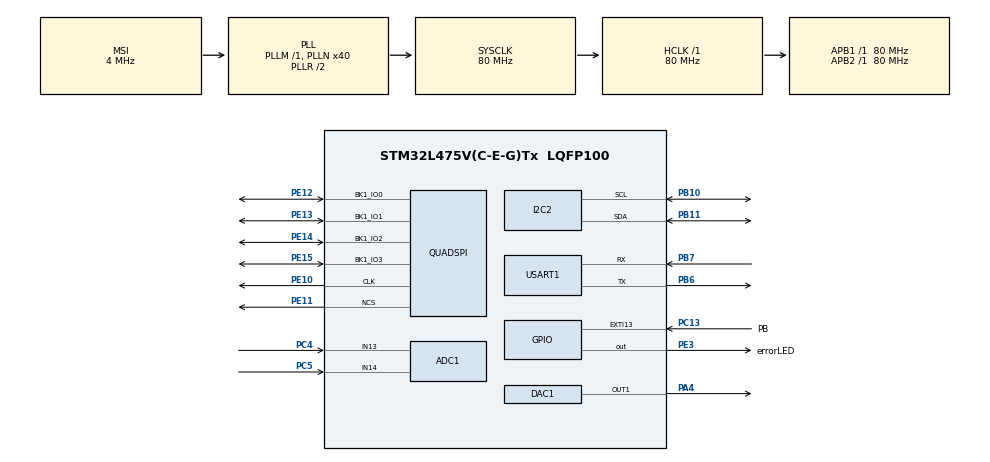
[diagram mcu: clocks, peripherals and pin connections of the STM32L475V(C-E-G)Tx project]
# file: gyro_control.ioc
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ADC1.Channel-0\#ChannelRegularConversion=ADC_CHANNEL_13
ADC1.Channel-1\#ChannelRegularConversion=ADC_CHANNEL_14
ADC1.DMAContinuousRequests=ENABLE
ADC1.ExternalTrigConv=ADC_EXTERNALTRIG_T3_TRGO
ADC1.NbrOfConversion=2
ADC1.NbrOfConversionFlag=1
ADC1.OffsetNumber-0\#ChannelRegularConversion=ADC_OFFSET_NONE
ADC1.OffsetNumber-1\#ChannelRegularConversion=ADC_OFFSET_NONE
ADC1.Rank-0\#ChannelRegularConversion=1
ADC1.Rank-1\#ChannelRegularConversion=2
ADC1.SamplingTime-0\#ChannelRegularConversion=ADC_SAMPLETIME_24CYCLES_5
ADC1.SamplingTime-1\#ChannelRegularConversion=ADC_SAMPLETIME_24CYCLES_5
ADC1.master=1
DAC1.DAC_Trigger-DAC_OUT1=DAC_TRIGGER_T2_TRGO
Dma.ADC1.0.Direction=DMA_PERIPH_TO_MEMORY
Dma.ADC1.0.Instance=DMA1_Channel1
Dma.ADC1.0.MemDataAlignment=DMA_MDATAALIGN_HALFWORD
Dma.ADC1.0.MemInc=DMA_MINC_ENABLE
Dma.ADC1.0.Mode=DMA_CIRCULAR
Dma.ADC1.0.PeriphDataAlignment=DMA_PDATAALIGN_HALFWORD
Dma.ADC1.0.PeriphInc=DMA_PINC_DISABLE
Dma.ADC1.0.Priority=DMA_PRIORITY_LOW
Dma.DAC_CH1.1.Direction=DMA_MEMORY_TO_PERIPH
Dma.DAC_CH1.1.Instance=DMA1_Channel3
Dma.DAC_CH1.1.MemDataAlignment=DMA_MDATAALIGN_WORD
Dma.DAC_CH1.1.MemInc=DMA_MINC_ENABLE
Dma.DAC_CH1.1.Mode=DMA_CIRCULAR
Dma.DAC_CH1.1.PeriphDataAlignment=DMA_PDATAALIGN_WORD
Dma.DAC_CH1.1.PeriphInc=DMA_PINC_DISABLE
Dma.DAC_CH1.1.Priority=DMA_PRIORITY_LOW
Dma.Request0=ADC1
Dma.Request1=DAC_CH1
I2C2.Timing=0x10909CEC
Mcu.Family=STM32L4
Mcu.Name=STM32L475V(C-E-G)Tx
Mcu.Package=LQFP100
NVIC.DMA1_Channel1_IRQn=true\:0\:0\:false\:false\:true\:false\:true\:true
NVIC.DMA1_Channel3_IRQn=true\:0\:0\:false\:false\:true\:false\:true\:true
NVIC.EXTI15_10_IRQn=true\:0\:0\:false\:false\:true\:true\:true\:true
NVIC.PriorityGroup=NVIC_PRIORITYGROUP_4
NVIC.TIM2_IRQn=true\:0\:0\:false\:false\:true\:true\:true\:true
NVIC.TIM4_IRQn=true\:0\:0\:false\:false\:true\:true\:true\:true
NVIC.TIM5_IRQn=true\:0\:0\:false\:false\:true\:true\:true\:true
PA4.Signal=COMP_DAC11_group
PB10.Mode=I2C
PB10.Signal=I2C2_SCL
PB11.Mode=I2C
PB11.Signal=I2C2_SDA
PB3\ (JTDO-TRACESWO).Signal=SYS_JTDO-SWO
PB6.Mode=Asynchronous
PB6.Signal=USART1_TX
PB7.Mode=Asynchronous
PB7.Signal=USART1_RX
PC13.GPIO_Label=PB
PC13.GPIO_ModeDefaultEXTI=GPIO_MODE_IT_RISING
PC13.GPIO_PuPd=GPIO_NOPULL
PC13.Signal=GPXTI13
PC4.Signal=ADCx_IN13
PC5.Signal=ADCx_IN14
PE10.Mode=Single Bank
PE10.Signal=QUADSPI_CLK
PE11.Mode=Single Bank
PE11.Signal=QUADSPI_NCS
PE12.Mode=Single Bank
PE12.Signal=QUADSPI_BK1_IO0
PE13.Mode=Single Bank
PE13.Signal=QUADSPI_BK1_IO1
PE14.Mode=Single Bank
PE14.Signal=QUADSPI_BK1_IO2
PE15.Mode=Single Bank
PE15.Signal=QUADSPI_BK1_IO3
PE3.GPIO_Label=errorLED
PE3.Signal=GPIO_Output
ProjectManager.HeapSize=0x200
ProjectManager.StackSize=0x400
ProjectManager.TargetToolchain=STM32CubeIDE
RCC.ADCFreq_Value=48000000
RCC.AHBFreq_Value=80000000
RCC.APB1Freq_Value=80000000
RCC.APB1TimFreq_Value=80000000
RCC.APB2Freq_Value=80000000
RCC.APB2TimFreq_Value=80000000
RCC.CortexFreq_Value=80000000
RCC.HCLKFreq_Value=80000000
RCC.HSE_VALUE=8000000
RCC.HSI_VALUE=16000000
RCC.LSE_VALUE=32768
RCC.MSI_VALUE=4000000
RCC.PLLN=40
RCC.PLLSAI1N=24
RCC.SYSCLKFreq_VALUE=80000000
RCC.SYSCLKSource=RCC_SYSCLKSOURCE_PLLCLK
RCC.USBFreq_Value=48000000
RCC.VCOOutputFreq_Value=160000000
SH.ADCx_IN13.0=ADC1_IN13,IN13-Single-Ended
SH.ADCx_IN14.0=ADC1_IN14,IN14-Single-Ended
SH.COMP_DAC11_group.0=DAC1_OUT1,DAC_OUT1
TIM2.Period=305
TIM2.TIM_MasterOutputTrigger=TIM_TRGO_UPDATE
TIM3.Channel-PWM\ Generation1\ No\ Output=TIM_CHANNEL_1
TIM3.Period=8000-1
TIM3.Prescaler=1-1
TIM3.TIM_MasterOutputTrigger=TIM_TRGO_UPDATE
TIM4.Period=8000-1
TIM4.Prescaler=10-1
TIM5.Period=1000
TIM5.Prescaler=40000
USART1.VirtualMode-Asynchronous=VM_ASYNC
VP_RNG_VS_RNG.Mode=RNG_Activate
VP_TIM2_VS_ClockSourceINT.Mode=Internal
VP_TIM3_VS_ClockSourceINT.Mode=Internal
VP_TIM3_VS_no_output1.Mode=PWM Generation1 No Output
VP_TIM4_VS_ClockSourceINT.Mode=Internal
VP_TIM5_VS_ClockSourceINT.Mode=Internal
board=B-L475E-IOT01A2

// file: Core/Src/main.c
/* USER CODE BEGIN Header */
/**
  ******************************************************************************
  * @file           : main.c
  * @brief          : Main program body
  ******************************************************************************
  * @attention
  *
  * Copyright (c) 2023 STMicroelectronics.
  * All rights reserved.
  *
  * This software is licensed under terms that can be found in the LICENSE file
  * in the root directory of this software component.
  * If no LICENSE file comes with this software, it is provided AS-IS.
  *
  ******************************************************************************
  */
/* USER CODE END Header */
#include "main.h"

/* USER CODE BEGIN Includes */
#include "stdio.h"
#include "string.h"
#include "time.h"
#include "stm32l475e_iot01_qspi.h"
#define ARM_MATH_CM4
#include "arm_math.h"
#include <math.h>
//#include "stm32l475e_iot01_gyro.h"
//#include "stm32l475e_iot01_accelero.h"
//#include "stm32l475e_iot01.h"
//#include "mx25r6435f.h"
//#include "stm32l475e_iot01_qspi.h"
//#include "JOYSTICK.h"
/* USER CODE END Includes */

/* USER CODE BEGIN PD */
#define ITM_Port32(n) (*((volatile unsigned long *) (0xE0000000+4*n)))

#define FALSE 0
#define TRUE 1

#define N_COLS 5
#define N_ROWS 10

#define JOYSTICK1 0

#define SCORE_ADDR (1 << 16)
#define SETTINGS_ADDR 50
#define MUSIC_ADDR 100
#define VALUE_LIMIT 4000

#define NOTE_0_SIZE 300
#define NOTE_1_SIZE 400
#define NOTE_2_SIZE 800
#define NOTE_3_SIZE 300
#define NOTE_4_SIZE 200
#define NOTE_5_SIZE 500

#define NOTE_0_ADDR MUSIC_ADDR
#define NOTE_1_ADDR NOTE_0_ADDR +  NOTE_0_SIZE														 *sizeof(uint32_t)
#define NOTE_2_ADDR NOTE_0_ADDR + (NOTE_0_SIZE + NOTE_1_SIZE)											 *sizeof(uint32_t)
#define NOTE_3_ADDR NOTE_0_ADDR + (NOTE_0_SIZE + NOTE_1_SIZE + NOTE_2_SIZE)							 *sizeof(uint32_t)
#define NOTE_4_ADDR NOTE_0_ADDR + (NOTE_0_SIZE + NOTE_1_SIZE + NOTE_2_SIZE + NOTE_3_SIZE)				 *sizeof(uint32_t)
#define NOTE_5_ADDR NOTE_0_ADDR + (NOTE_0_SIZE + NOTE_1_SIZE + NOTE_2_SIZE + NOTE_3_SIZE + NOTE_4_SIZE)*sizeof(uint32_t)
/* USER CODE END PD */

ADC_HandleTypeDef hadc1;
DMA_HandleTypeDef hdma_adc1;

DAC_HandleTypeDef hdac1;
DMA_HandleTypeDef hdma_dac_ch1;

I2C_HandleTypeDef hi2c2;

QSPI_HandleTypeDef hqspi;

RNG_HandleTypeDef hrng;

TIM_HandleTypeDef htim2;
TIM_HandleTypeDef htim3;
TIM_HandleTypeDef htim4;
TIM_HandleTypeDef htim5;

UART_HandleTypeDef huart1;

/* USER CODE BEGIN PV */
//float gyro[3];
char str_hum[100] = "";
//int16_t accel[3];

volatile uint16_t joystickXY[2]; //12 bit ADC so we use 16 bit unsigned ints
const int num_inputs = 2;
volatile int conversion_cmplt = 0; //set by the call back
enum state{
	straight, left, right
};

volatile int check_dir = 1;

uint32_t song_index = 0;
uint8_t state = 0;

/* USER CODE END PV */

void SystemClock_Config(void);
void PeriphCommonClock_Config(void);
static void MX_GPIO_Init(void);
static void MX_DMA_Init(void);
static void MX_I2C2_Init(void);
static void MX_USART1_UART_Init(void);
static void MX_QUADSPI_Init(void);
static void MX_ADC1_Init(void);
static void MX_TIM3_Init(void);
static void MX_RNG_Init(void);
static void MX_TIM2_Init(void);
static void MX_TIM5_Init(void);
static void MX_DAC1_Init(void);
static void MX_TIM4_Init(void);
/* USER CODE BEGIN PFP */
void gen_music(void);
void gen_sine(void);
//uint32_t* gen_notes(uint16_t size);
void gen_notes(void);
/* USER CODE END PFP */

/* USER CODE BEGIN 0 */
char clear_screen[6] = {0x1B, 0x5B, 0x32, 0x4A, 0x00, 0x0d};

int score = 0;
float collision = 0;

uint32_t note_0[NOTE_0_SIZE];
uint32_t note_1[NOTE_1_SIZE];
uint32_t note_2[NOTE_2_SIZE];
uint32_t note_3[NOTE_3_SIZE];
uint32_t note_4[NOTE_4_SIZE];
uint32_t note_5[NOTE_5_SIZE];

// TODO: Make variables names more descriptive
volatile uint8_t char_horz_pos = 5;
uint8_t char_vert_pos = 1;
char map[N_ROWS][2 * N_COLS +1 +2 +1] = { // +1 (last vert pipe) +2 (newline) +1 (stop char)
    "| | | | | |\r\n",
    "| | | | | |\r\n",
    "| | | | | |\r\n",
    "| | | | | |\r\n",
    "| | | | | |\r\n",
    "| | | | | |\r\n",
    "| | | | | |\r\n",
    "| | | | | |\r\n",
    "| | | | | |\r\n",
    "| | | | | |\r\n",
};

char score_string[2 * N_COLS +2] = "";

uint8_t top_row = 0;

uint8_t expected_lane = 5; // Character starts in lane 5

void update_map() {
  uint32_t rand_num;
  HAL_RNG_GenerateRandomNumber(&hrng, &rand_num);

  uint8_t past_expected_lane = expected_lane;
  if (rand_num & 1) { // Determine if expected lane changes
    if (expected_lane == 1) {
      expected_lane = 3;
    }
    else if (expected_lane == 9) {
      expected_lane = 7;
    }
    else { // Determine if going right or left
      if ((rand_num >> 2) & 1) {
        expected_lane += 2;
      }
      else {
        expected_lane -= 2;
      }
    }
  }

  for (int col = 1; col <= 2 * N_COLS - 1; col += 2) {
    if (col == past_expected_lane || col == expected_lane) {
      map[top_row][col] = ' ';
      continue;
    }

    if ((rand_num >> col) & 1) {
      map[top_row][col] = 'X';
    }
    else {
      map[top_row][col] = ' ';
    }
  }
  top_row = (top_row + 1) % N_ROWS;

  //   Detects collision
  if(map[(top_row + char_vert_pos) % N_ROWS][char_horz_pos] == 'X'){
	  collision = TRUE;
  }
}

void display_map(uint8_t start_row) {
  // First, clear console
  HAL_UART_Transmit(&huart1, (uint8_t*) clear_screen, sizeof(clear_screen), 1000);

	char real_char = map[(start_row + char_vert_pos) % N_ROWS][char_horz_pos];
	map[(start_row + char_vert_pos) % N_ROWS][char_horz_pos] = 'O';

	// Display map
	for (int row = 0; row < N_ROWS; row++) {
	  HAL_UART_Transmit(&huart1, (uint8_t*) map[(start_row + row) % N_ROWS], sizeof(map[row]), 1000);
	}

	map[(start_row + char_vert_pos) % N_ROWS][char_horz_pos] = real_char;

	sprintf(score_string, "Score:%5d", score); // TODO: Change hardcoded value
	HAL_UART_Transmit(&huart1, (uint8_t*) score_string, sizeof(score_string), 1000);
}

void main_menu() {
  // Display menu options
//  int selected = 0;
//  print_menu_options(selected);
//
  // Wait for input
//  while (1) {
//    if (selected <joystickXY[1] > 3000) {
//
//    }
//
//  }

  // Reset game variables in case we are restarting
  collision = FALSE;
  score = 0;
  char_horz_pos = 5;
  for (int row=0; row<10; row++) {
    for (int lane=1; lane<=9; lane += 2) {
      map[row][lane] = ' ';
    }
  }
}

void play_game() {
  display_map(top_row);
  while (1) {
    HAL_Delay(500);
    update_map();
    ITM_Port32(31) = 1;
    if (collision) break;
    score++;
    display_map(top_row);
  }
}

void end_game() {
  // Place score in top 10
  int high_scores[11];
  if (BSP_QSPI_Read(high_scores, (uint32_t) SCORE_ADDR, sizeof(high_scores)) != QSPI_OK) {
    Error_Handler();
  }

  for (int rank = 9; rank>=0; rank--) {
    if (score > high_scores[rank]) {
      high_scores[rank+1] = high_scores[rank];
    }
    else {
      high_scores[rank+1] = score;
      break;
    }
  }
  if (score > high_scores[0]) high_scores[0] = score;

  // Save top 10
  if (BSP_QSPI_Erase_Block((uint32_t) SCORE_ADDR) != QSPI_OK) {
    Error_Handler();
  }
  if (BSP_QSPI_Write(high_scores, (uint32_t) SCORE_ADDR, sizeof(high_scores)) != QSPI_OK) {
    Error_Handler();
  }

  // Display top 10
  HAL_UART_Transmit(&huart1, (uint8_t*) clear_screen, sizeof(clear_screen), 1000);
  char title[] = "High scores:\r\n";
  HAL_UART_Transmit(&huart1, (uint8_t*) title, sizeof(title), 1000);

  char ranking_line[20] = "";
  for (int rank=1; rank<=10; rank++) {
    sprintf(ranking_line, "%2d  %5d\r\n", rank, high_scores[rank-1]);
    HAL_UART_Transmit(&huart1, (uint8_t*) ranking_line, sizeof(ranking_line), 1000);
  }

  char buf[100] = "";
  sprintf(buf, "\nYour score: %d points\r\n\nMove the joystick in any direction to go back to the main menu", score);
  HAL_UART_Transmit(&huart1, (uint8_t*) buf, sizeof(buf), 1000);

  // Wait for new game to start...
  while (1) {
    HAL_Delay(10);
    if ((joystickXY[0] - 2000)*(joystickXY[0] - 2000)
        + (joystickXY[1] - 2000)*(joystickXY[1] - 2000)
        >= 1000) {
        break;
    }
  }
}
/* USER CODE END 0 */

int main(void)
{

  /* MCU Configuration--------------------------------------------------------*/

  /* Reset of all peripherals, Initializes the Flash interface and the Systick. */
  HAL_Init();

  /* Configure the system clock */
  SystemClock_Config();

/* Configure the peripherals common clocks */
  PeriphCommonClock_Config();

  /* Initialize all configured peripherals */
  MX_GPIO_Init();
  MX_DMA_Init();
  MX_I2C2_Init();
  MX_USART1_UART_Init();
  MX_QUADSPI_Init();
  MX_ADC1_Init();
  MX_TIM3_Init();
  MX_RNG_Init();
  MX_TIM2_Init();
  MX_TIM5_Init();
  MX_DAC1_Init();
  MX_TIM4_Init();
  /* USER CODE BEGIN 2 */

  HAL_ADC_Start_DMA(&hadc1, (uint32_t* ) joystickXY, 2);
  HAL_TIM_Base_Start_IT(&htim3);
  HAL_TIM_Base_Start_IT(&htim4);
//  enum state mode = straight;

  BSP_QSPI_Init();

  HAL_GPIO_WritePin(errorLED_GPIO_Port, errorLED_Pin, GPIO_PIN_SET);

  if(BSP_QSPI_Erase_Block(0) != QSPI_OK){
	  Error_Handler();
  }

  gen_notes();
  gen_music();

  HAL_TIM_Base_Start_IT(&htim2);
  HAL_TIM_Base_Start_IT(&htim5);

  /* USER CODE END 2 */

  /* Infinite loop */
  while (1)
  {

    /* USER CODE BEGIN 3 */
    main_menu();
    play_game();
    end_game();
  }
  /* USER CODE END 3 */
}

void SystemClock_Config(void)
{
  RCC_OscInitTypeDef RCC_OscInitStruct = {0};
  RCC_ClkInitTypeDef RCC_ClkInitStruct = {0};

  /** Configure the main internal regulator output voltage
  */
  if (HAL_PWREx_ControlVoltageScaling(PWR_REGULATOR_VOLTAGE_SCALE1) != HAL_OK)
  {
    Error_Handler();
  }

  /** Initializes the RCC Oscillators according to the specified parameters
  * in the RCC_OscInitTypeDef structure.
  */
  RCC_OscInitStruct.OscillatorType = RCC_OSCILLATORTYPE_MSI;
  RCC_OscInitStruct.MSIState = RCC_MSI_ON;
  RCC_OscInitStruct.MSICalibrationValue = 0;
  RCC_OscInitStruct.MSIClockRange = RCC_MSIRANGE_6;
  RCC_OscInitStruct.PLL.PLLState = RCC_PLL_ON;
  RCC_OscInitStruct.PLL.PLLSource = RCC_PLLSOURCE_MSI;
  RCC_OscInitStruct.PLL.PLLM = 1;
  RCC_OscInitStruct.PLL.PLLN = 40;
  RCC_OscInitStruct.PLL.PLLP = RCC_PLLP_DIV7;
  RCC_OscInitStruct.PLL.PLLQ = RCC_PLLQ_DIV2;
  RCC_OscInitStruct.PLL.PLLR = RCC_PLLR_DIV2;
  if (HAL_RCC_OscConfig(&RCC_OscInitStruct) != HAL_OK)
  {
    Error_Handler();
  }

  /** Initializes the CPU, AHB and APB buses clocks
  */
  RCC_ClkInitStruct.ClockType = RCC_CLOCKTYPE_HCLK|RCC_CLOCKTYPE_SYSCLK
                              |RCC_CLOCKTYPE_PCLK1|RCC_CLOCKTYPE_PCLK2;
  RCC_ClkInitStruct.SYSCLKSource = RCC_SYSCLKSOURCE_PLLCLK;
  RCC_ClkInitStruct.AHBCLKDivider = RCC_SYSCLK_DIV1;
  RCC_ClkInitStruct.APB1CLKDivider = RCC_HCLK_DIV1;
  RCC_ClkInitStruct.APB2CLKDivider = RCC_HCLK_DIV1;

  if (HAL_RCC_ClockConfig(&RCC_ClkInitStruct, FLASH_LATENCY_4) != HAL_OK)
  {
    Error_Handler();
  }
}

void PeriphCommonClock_Config(void)
{
  RCC_PeriphCLKInitTypeDef PeriphClkInit = {0};

  /** Initializes the peripherals clock
  */
  PeriphClkInit.PeriphClockSelection = RCC_PERIPHCLK_RNG|RCC_PERIPHCLK_ADC;
  PeriphClkInit.AdcClockSelection = RCC_ADCCLKSOURCE_PLLSAI1;
  PeriphClkInit.RngClockSelection = RCC_RNGCLKSOURCE_PLLSAI1;
  PeriphClkInit.PLLSAI1.PLLSAI1Source = RCC_PLLSOURCE_MSI;
  PeriphClkInit.PLLSAI1.PLLSAI1M = 1;
  PeriphClkInit.PLLSAI1.PLLSAI1N = 24;
  PeriphClkInit.PLLSAI1.PLLSAI1P = RCC_PLLP_DIV7;
  PeriphClkInit.PLLSAI1.PLLSAI1Q = RCC_PLLQ_DIV2;
  PeriphClkInit.PLLSAI1.PLLSAI1R = RCC_PLLR_DIV2;
  PeriphClkInit.PLLSAI1.PLLSAI1ClockOut = RCC_PLLSAI1_48M2CLK|RCC_PLLSAI1_ADC1CLK;
  if (HAL_RCCEx_PeriphCLKConfig(&PeriphClkInit) != HAL_OK)
  {
    Error_Handler();
  }
}

static void MX_ADC1_Init(void)
{

  ADC_MultiModeTypeDef multimode = {0};
  ADC_ChannelConfTypeDef sConfig = {0};

  /** Common config
  */
  hadc1.Instance = ADC1;
  hadc1.Init.ClockPrescaler = ADC_CLOCK_ASYNC_DIV1;
  hadc1.Init.Resolution = ADC_RESOLUTION_12B;
  hadc1.Init.DataAlign = ADC_DATAALIGN_RIGHT;
  hadc1.Init.ScanConvMode = ADC_SCAN_ENABLE;
  hadc1.Init.EOCSelection = ADC_EOC_SINGLE_CONV;
  hadc1.Init.LowPowerAutoWait = DISABLE;
  hadc1.Init.ContinuousConvMode = DISABLE;
  hadc1.Init.NbrOfConversion = 2;
  hadc1.Init.DiscontinuousConvMode = DISABLE;
  hadc1.Init.ExternalTrigConv = ADC_EXTERNALTRIG_T3_TRGO;
  hadc1.Init.ExternalTrigConvEdge = ADC_EXTERNALTRIGCONVEDGE_RISING;
  hadc1.Init.DMAContinuousRequests = ENABLE;
  hadc1.Init.Overrun = ADC_OVR_DATA_PRESERVED;
  hadc1.Init.OversamplingMode = DISABLE;
  if (HAL_ADC_Init(&hadc1) != HAL_OK)
  {
    Error_Handler();
  }

  /** Configure the ADC multi-mode
  */
  multimode.Mode = ADC_MODE_INDEPENDENT;
  if (HAL_ADCEx_MultiModeConfigChannel(&hadc1, &multimode) != HAL_OK)
  {
    Error_Handler();
  }

  /** Configure Regular Channel
  */
  sConfig.Channel = ADC_CHANNEL_13;
  sConfig.Rank = ADC_REGULAR_RANK_1;
  sConfig.SamplingTime = ADC_SAMPLETIME_24CYCLES_5;
  sConfig.SingleDiff = ADC_SINGLE_ENDED;
  sConfig.OffsetNumber = ADC_OFFSET_NONE;
  sConfig.Offset = 0;
  if (HAL_ADC_ConfigChannel(&hadc1, &sConfig) != HAL_OK)
  {
    Error_Handler();
  }

  /** Configure Regular Channel
  */
  sConfig.Channel = ADC_CHANNEL_14;
  sConfig.Rank = ADC_REGULAR_RANK_2;
  if (HAL_ADC_ConfigChannel(&hadc1, &sConfig) != HAL_OK)
  {
    Error_Handler();
  }

}

static void MX_DAC1_Init(void)
{

  DAC_ChannelConfTypeDef sConfig = {0};

  /** DAC Initialization
  */
  hdac1.Instance = DAC1;
  if (HAL_DAC_Init(&hdac1) != HAL_OK)
  {
    Error_Handler();
  }

  /** DAC channel OUT1 config
  */
  sConfig.DAC_SampleAndHold = DAC_SAMPLEANDHOLD_DISABLE;
  sConfig.DAC_Trigger = DAC_TRIGGER_T2_TRGO;
  sConfig.DAC_OutputBuffer = DAC_OUTPUTBUFFER_ENABLE;
  sConfig.DAC_ConnectOnChipPeripheral = DAC_CHIPCONNECT_DISABLE;
  sConfig.DAC_UserTrimming = DAC_TRIMMING_FACTORY;
  if (HAL_DAC_ConfigChannel(&hdac1, &sConfig, DAC_CHANNEL_1) != HAL_OK)
  {
    Error_Handler();
  }

}

static void MX_I2C2_Init(void)
{

  hi2c2.Instance = I2C2;
  hi2c2.Init.Timing = 0x10909CEC;
  hi2c2.Init.OwnAddress1 = 0;
  hi2c2.Init.AddressingMode = I2C_ADDRESSINGMODE_7BIT;
  hi2c2.Init.DualAddressMode = I2C_DUALADDRESS_DISABLE;
  hi2c2.Init.OwnAddress2 = 0;
  hi2c2.Init.OwnAddress2Masks = I2C_OA2_NOMASK;
  hi2c2.Init.GeneralCallMode = I2C_GENERALCALL_DISABLE;
  hi2c2.Init.NoStretchMode = I2C_NOSTRETCH_DISABLE;
  if (HAL_I2C_Init(&hi2c2) != HAL_OK)
  {
    Error_Handler();
  }

  /** Configure Analogue filter
  */
  if (HAL_I2CEx_ConfigAnalogFilter(&hi2c2, I2C_ANALOGFILTER_ENABLE) != HAL_OK)
  {
    Error_Handler();
  }

  /** Configure Digital filter
  */
  if (HAL_I2CEx_ConfigDigitalFilter(&hi2c2, 0) != HAL_OK)
  {
    Error_Handler();
  }

}

static void MX_QUADSPI_Init(void)
{

  /* QUADSPI parameter configuration*/
  hqspi.Instance = QUADSPI;
  hqspi.Init.ClockPrescaler = 255;
  hqspi.Init.FifoThreshold = 1;
  hqspi.Init.SampleShifting = QSPI_SAMPLE_SHIFTING_NONE;
  hqspi.Init.FlashSize = 1;
  hqspi.Init.ChipSelectHighTime = QSPI_CS_HIGH_TIME_1_CYCLE;
  hqspi.Init.ClockMode = QSPI_CLOCK_MODE_0;
  if (HAL_QSPI_Init(&hqspi) != HAL_OK)
  {
    Error_Handler();
  }

}

static void MX_RNG_Init(void)
{

  hrng.Instance = RNG;
  if (HAL_RNG_Init(&hrng) != HAL_OK)
  {
    Error_Handler();
  }

}

static void MX_TIM2_Init(void)
{

  TIM_ClockConfigTypeDef sClockSourceConfig = {0};
  TIM_MasterConfigTypeDef sMasterConfig = {0};

  htim2.Instance = TIM2;
  htim2.Init.Prescaler = 0;
  htim2.Init.CounterMode = TIM_COUNTERMODE_UP;
  htim2.Init.Period = 305;
  htim2.Init.ClockDivision = TIM_CLOCKDIVISION_DIV1;
  htim2.Init.AutoReloadPreload = TIM_AUTORELOAD_PRELOAD_DISABLE;
  if (HAL_TIM_Base_Init(&htim2) != HAL_OK)
  {
    Error_Handler();
  }
  sClockSourceConfig.ClockSource = TIM_CLOCKSOURCE_INTERNAL;
  if (HAL_TIM_ConfigClockSource(&htim2, &sClockSourceConfig) != HAL_OK)
  {
    Error_Handler();
  }
  sMasterConfig.MasterOutputTrigger = TIM_TRGO_UPDATE;
  sMasterConfig.MasterSlaveMode = TIM_MASTERSLAVEMODE_DISABLE;
  if (HAL_TIMEx_MasterConfigSynchronization(&htim2, &sMasterConfig) != HAL_OK)
  {
    Error_Handler();
  }

}

static void MX_TIM3_Init(void)
{

  TIM_ClockConfigTypeDef sClockSourceConfig = {0};
  TIM_MasterConfigTypeDef sMasterConfig = {0};
  TIM_OC_InitTypeDef sConfigOC = {0};

  htim3.Instance = TIM3;
  htim3.Init.Prescaler = 1-1;
  htim3.Init.CounterMode = TIM_COUNTERMODE_UP;
  htim3.Init.Period = 8000-1;
  htim3.Init.ClockDivision = TIM_CLOCKDIVISION_DIV1;
  htim3.Init.AutoReloadPreload = TIM_AUTORELOAD_PRELOAD_DISABLE;
  if (HAL_TIM_Base_Init(&htim3) != HAL_OK)
  {
    Error_Handler();
  }
  sClockSourceConfig.ClockSource = TIM_CLOCKSOURCE_INTERNAL;
  if (HAL_TIM_ConfigClockSource(&htim3, &sClockSourceConfig) != HAL_OK)
  {
    Error_Handler();
  }
  if (HAL_TIM_PWM_Init(&htim3) != HAL_OK)
  {
    Error_Handler();
  }
  sMasterConfig.MasterOutputTrigger = TIM_TRGO_UPDATE;
  sMasterConfig.MasterSlaveMode = TIM_MASTERSLAVEMODE_DISABLE;
  if (HAL_TIMEx_MasterConfigSynchronization(&htim3, &sMasterConfig) != HAL_OK)
  {
    Error_Handler();
  }
  sConfigOC.OCMode = TIM_OCMODE_PWM1;
  sConfigOC.Pulse = 0;
  sConfigOC.OCPolarity = TIM_OCPOLARITY_HIGH;
  sConfigOC.OCFastMode = TIM_OCFAST_DISABLE;
  if (HAL_TIM_PWM_ConfigChannel(&htim3, &sConfigOC, TIM_CHANNEL_1) != HAL_OK)
  {
    Error_Handler();
  }

}

static void MX_TIM4_Init(void)
{

  TIM_ClockConfigTypeDef sClockSourceConfig = {0};
  TIM_MasterConfigTypeDef sMasterConfig = {0};

  htim4.Instance = TIM4;
  htim4.Init.Prescaler = 10-1;
  htim4.Init.CounterMode = TIM_COUNTERMODE_UP;
  htim4.Init.Period = 8000-1;
  htim4.Init.ClockDivision = TIM_CLOCKDIVISION_DIV1;
  htim4.Init.AutoReloadPreload = TIM_AUTORELOAD_PRELOAD_DISABLE;
  if (HAL_TIM_Base_Init(&htim4) != HAL_OK)
  {
    Error_Handler();
  }
  sClockSourceConfig.ClockSource = TIM_CLOCKSOURCE_INTERNAL;
  if (HAL_TIM_ConfigClockSource(&htim4, &sClockSourceConfig) != HAL_OK)
  {
    Error_Handler();
  }
  sMasterConfig.MasterOutputTrigger = TIM_TRGO_RESET;
  sMasterConfig.MasterSlaveMode = TIM_MASTERSLAVEMODE_DISABLE;
  if (HAL_TIMEx_MasterConfigSynchronization(&htim4, &sMasterConfig) != HAL_OK)
  {
    Error_Handler();
  }

}

static void MX_TIM5_Init(void)
{

  TIM_ClockConfigTypeDef sClockSourceConfig = {0};
  TIM_MasterConfigTypeDef sMasterConfig = {0};

  htim5.Instance = TIM5;
  htim5.Init.Prescaler = 40000;
  htim5.Init.CounterMode = TIM_COUNTERMODE_UP;
  htim5.Init.Period = 1000;
  htim5.Init.ClockDivision = TIM_CLOCKDIVISION_DIV1;
  htim5.Init.AutoReloadPreload = TIM_AUTORELOAD_PRELOAD_DISABLE;
  if (HAL_TIM_Base_Init(&htim5) != HAL_OK)
  {
    Error_Handler();
  }
  sClockSourceConfig.ClockSource = TIM_CLOCKSOURCE_INTERNAL;
  if (HAL_TIM_ConfigClockSource(&htim5, &sClockSourceConfig) != HAL_OK)
  {
    Error_Handler();
  }
  sMasterConfig.MasterOutputTrigger = TIM_TRGO_RESET;
  sMasterConfig.MasterSlaveMode = TIM_MASTERSLAVEMODE_DISABLE;
  if (HAL_TIMEx_MasterConfigSynchronization(&htim5, &sMasterConfig) != HAL_OK)
  {
    Error_Handler();
  }

}

static void MX_USART1_UART_Init(void)
{

  huart1.Instance = USART1;
  huart1.Init.BaudRate = 115200;
  huart1.Init.WordLength = UART_WORDLENGTH_8B;
  huart1.Init.StopBits = UART_STOPBITS_1;
  huart1.Init.Parity = UART_PARITY_NONE;
  huart1.Init.Mode = UART_MODE_TX_RX;
  huart1.Init.HwFlowCtl = UART_HWCONTROL_NONE;
  huart1.Init.OverSampling = UART_OVERSAMPLING_16;
  huart1.Init.OneBitSampling = UART_ONE_BIT_SAMPLE_DISABLE;
  huart1.AdvancedInit.AdvFeatureInit = UART_ADVFEATURE_NO_INIT;
  if (HAL_UART_Init(&huart1) != HAL_OK)
  {
    Error_Handler();
  }

}

static void MX_DMA_Init(void)
{

  /* DMA controller clock enable */
  __HAL_RCC_DMA1_CLK_ENABLE();

  /* DMA interrupt init */
  /* DMA1_Channel1_IRQn interrupt configuration */
  HAL_NVIC_SetPriority(DMA1_Channel1_IRQn, 0, 0);
  HAL_NVIC_EnableIRQ(DMA1_Channel1_IRQn);
  /* DMA1_Channel3_IRQn interrupt configuration */
  HAL_NVIC_SetPriority(DMA1_Channel3_IRQn, 0, 0);
  HAL_NVIC_EnableIRQ(DMA1_Channel3_IRQn);

}

static void MX_GPIO_Init(void)
{
  GPIO_InitTypeDef GPIO_InitStruct = {0};

  /* GPIO Ports Clock Enable */
  __HAL_RCC_GPIOE_CLK_ENABLE();
  __HAL_RCC_GPIOC_CLK_ENABLE();
  __HAL_RCC_GPIOA_CLK_ENABLE();
  __HAL_RCC_GPIOB_CLK_ENABLE();

  /*Configure GPIO pin Output Level */
  HAL_GPIO_WritePin(errorLED_GPIO_Port, errorLED_Pin, GPIO_PIN_RESET);

  /*Configure GPIO pin : errorLED_Pin */
  GPIO_InitStruct.Pin = errorLED_Pin;
  GPIO_InitStruct.Mode = GPIO_MODE_OUTPUT_PP;
  GPIO_InitStruct.Pull = GPIO_NOPULL;
  GPIO_InitStruct.Speed = GPIO_SPEED_FREQ_LOW;
  HAL_GPIO_Init(errorLED_GPIO_Port, &GPIO_InitStruct);

  /*Configure GPIO pin : PB_Pin */
  GPIO_InitStruct.Pin = PB_Pin;
  GPIO_InitStruct.Mode = GPIO_MODE_IT_RISING;
  GPIO_InitStruct.Pull = GPIO_NOPULL;
  HAL_GPIO_Init(PB_GPIO_Port, &GPIO_InitStruct);

  /* EXTI interrupt init*/
  HAL_NVIC_SetPriority(EXTI15_10_IRQn, 0, 0);
  HAL_NVIC_EnableIRQ(EXTI15_10_IRQn);

}

/* USER CODE BEGIN 4 */

void gen_music(void){

	if(BSP_QSPI_Read(note_0, NOTE_0_ADDR, sizeof(uint32_t)*(NOTE_0_SIZE))!= QSPI_OK){
		Error_Handler();
	}
	if(BSP_QSPI_Read(note_1, NOTE_1_ADDR, sizeof(uint32_t)*(NOTE_1_SIZE))!= QSPI_OK){
		Error_Handler();
	}
	if(BSP_QSPI_Read(note_2, NOTE_2_ADDR, sizeof(uint32_t)*(NOTE_2_SIZE))!= QSPI_OK){
		Error_Handler();
	}
	if(BSP_QSPI_Read(note_3, NOTE_3_ADDR, sizeof(uint32_t)*(NOTE_3_SIZE))!= QSPI_OK){
		Error_Handler();
	}
	if(BSP_QSPI_Read(note_4, NOTE_4_ADDR, sizeof(uint32_t)*(NOTE_4_SIZE))!= QSPI_OK){
		Error_Handler();
	}
	if(BSP_QSPI_Read(note_5, NOTE_5_ADDR, sizeof(uint32_t)*(NOTE_5_SIZE))!= QSPI_OK){
		Error_Handler();
	}

}

void gen_notes(void){

	uint32_t note_0_temp[NOTE_0_SIZE];
	uint32_t note_1_temp[NOTE_1_SIZE];
	uint32_t note_2_temp[NOTE_2_SIZE];
	uint32_t note_3_temp[NOTE_3_SIZE];
	uint32_t note_4_temp[NOTE_4_SIZE];
	uint32_t note_5_temp[NOTE_5_SIZE];

	float theta = 0.0;
	float val = 0.0;
	uint32_t size = NOTE_0_SIZE;
	for (int i = 0; i < size; i++){
		val = (VALUE_LIMIT/2.0)*arm_sin_f32(theta);
		note_0_temp[i] = (uint32_t)(val + (VALUE_LIMIT/2.0));
		theta += (2*PI)/(size);
	}
	theta = 0.0;
	val = 0.0;
	size = NOTE_1_SIZE;
	for (int i = 0; i < size; i++){
		val = (VALUE_LIMIT/2.0)*arm_sin_f32(theta);
		val = (uint32_t)(val + (VALUE_LIMIT/2.0));
		note_1_temp[i] = val;
		theta += (2*PI)/(size);
	}
	theta = 0.0;
	val = 0.0;
	size = NOTE_2_SIZE;
	for (int i = 0; i < size; i++){
		val = (VALUE_LIMIT/2.0)*arm_sin_f32(theta);
		note_2_temp[i] = (uint32_t)(val + (VALUE_LIMIT/2.0));
		theta += (2*PI)/(size);
	}
	theta = 0.0;
	val = 0.0;
	size = NOTE_3_SIZE;
	for (int i = 0; i < size; i++){
		val = (VALUE_LIMIT/2.0)*arm_sin_f32(theta);
		note_3_temp[i] = (uint32_t)(val + (VALUE_LIMIT/2.0));
		theta += (2*PI)/(size);
	}
	theta = 0.0;
	val = 0.0;
	size = NOTE_4_SIZE;
	for (int i = 0; i < size; i++){
		val = (VALUE_LIMIT/2.0)*arm_sin_f32(theta);
		note_4_temp[i] = (uint32_t)(val + (VALUE_LIMIT/2.0));
		theta += (2*PI)/(size);
	}
	theta = 0.0;
	val = 0.0;
	size = NOTE_5_SIZE;
	for (int i = 0; i < size; i++){
		val = (VALUE_LIMIT/2.0)*arm_sin_f32(theta);
		note_5_temp[i] = (uint32_t)(val + (VALUE_LIMIT/2.0));
		theta += (2*PI)/(size);
	}

	if(BSP_QSPI_Write(note_0_temp, NOTE_0_ADDR, sizeof(uint32_t)*(NOTE_0_SIZE))!= QSPI_OK){
		Error_Handler();
	}
	if(BSP_QSPI_Write(note_1_temp, NOTE_1_ADDR, sizeof(uint32_t)*(NOTE_1_SIZE))!= QSPI_OK){
		Error_Handler();
	}
	if(BSP_QSPI_Write(note_2_temp, NOTE_2_ADDR, sizeof(uint32_t)*(NOTE_2_SIZE))!= QSPI_OK){
		Error_Handler();
	}
	if(BSP_QSPI_Write(note_3_temp, NOTE_3_ADDR, sizeof(uint32_t)*(NOTE_3_SIZE))!= QSPI_OK){
		Error_Handler();
	}
	if(BSP_QSPI_Write(note_4_temp, NOTE_4_ADDR, sizeof(uint32_t)*(NOTE_4_SIZE))!= QSPI_OK){
		Error_Handler();
	}
	if(BSP_QSPI_Write(note_5_temp, NOTE_5_ADDR, sizeof(uint32_t)*(NOTE_5_SIZE))!= QSPI_OK){
		Error_Handler();
	}
}

// TODO: USE
void HAL_GPIO_EXTI_Callback (uint16_t GPIO_Pin){
	state = (state + 1)%2;
	if (state == 0){
		HAL_TIM_Base_Start_IT(&htim5);
	}
	else if(state == 1){
		HAL_DAC_Stop_DMA(&hdac1, DAC_CHANNEL_1);
		HAL_TIM_Base_Stop_IT(&htim5);
	}
}

void HAL_TIM_PeriodElapsedCallback(TIM_HandleTypeDef *htim)
{
  /* USER CODE BEGIN Callback 0 */
	// TODO: USE
	if (htim == &htim5){
		HAL_DAC_Stop_DMA(&hdac1, DAC_CHANNEL_1);	// Stop playing looped audio
		switch(song_index) {
			case 0:
				HAL_DAC_Start_DMA(&hdac1, DAC_CHANNEL_1, note_0, NOTE_0_SIZE, DAC_ALIGN_12B_R);
				 break;
			case 1:
				HAL_DAC_Start_DMA(&hdac1, DAC_CHANNEL_1, note_1, NOTE_1_SIZE, DAC_ALIGN_12B_R);
				 break;
			case 2:
				HAL_DAC_Start_DMA(&hdac1, DAC_CHANNEL_1, note_2, NOTE_2_SIZE, DAC_ALIGN_12B_R);
				break;
			case 3:
				HAL_DAC_Start_DMA(&hdac1, DAC_CHANNEL_1, note_3, NOTE_3_SIZE, DAC_ALIGN_12B_R);
				break;
			case 4:
				HAL_DAC_Start_DMA(&hdac1, DAC_CHANNEL_1, note_4, NOTE_4_SIZE, DAC_ALIGN_12B_R);
				break;
			case 5:
				HAL_DAC_Start_DMA(&hdac1, DAC_CHANNEL_1, note_5, NOTE_5_SIZE, DAC_ALIGN_12B_R);
				break;
			default:

				 }
			song_index = (song_index + 1) % 6;
	}

	if (htim == &htim4){
//	  char buf[30];
//	  sprintf(buf, "X: %d, Y: %d\r\n\n", joystickXY[0], joystickXY[1]);
//	  HAL_UART_Transmit(&huart1, (uint8_t*) buf, sizeof(buf), 1000);
		if(check_dir == 1){
			if(joystickXY[0] < 1000){
//				mode = right;
				char_horz_pos = (char_horz_pos < 9) ? (char_horz_pos + 2) : char_horz_pos;
				check_dir = 0;
				display_map(top_row);
			}
			else if(joystickXY[0] > 3000){
				char_horz_pos = (char_horz_pos > 1) ? (char_horz_pos - 2) : char_horz_pos;
//				mode = left;
				check_dir = 0;
				display_map(top_row);
			}
//			else{
//				//char_horz_pos = char_horz_pos;
//			}
		}
		else{
			if(joystickXY[0] >= 1000 && joystickXY[0] <= 3000){
				check_dir = 1;
			}
		}
	}

  /* USER CODE END Callback 0 */
  if (htim->Instance == TIM6) {
    HAL_IncTick();
  }
  /* USER CODE BEGIN Callback 1 */

  /* USER CODE END Callback 1 */
}

/* USER CODE END 4 */

void Error_Handler(void)
{
  /* USER CODE BEGIN Error_Handler_Debug */
	HAL_GPIO_WritePin(errorLED_GPIO_Port, errorLED_Pin, GPIO_PIN_RESET);
	__BKPT();
  /* User can add his own implementation to report the HAL error return state */
  __disable_irq();
  while (1)
  {
  }
  /* USER CODE END Error_Handler_Debug */
}
